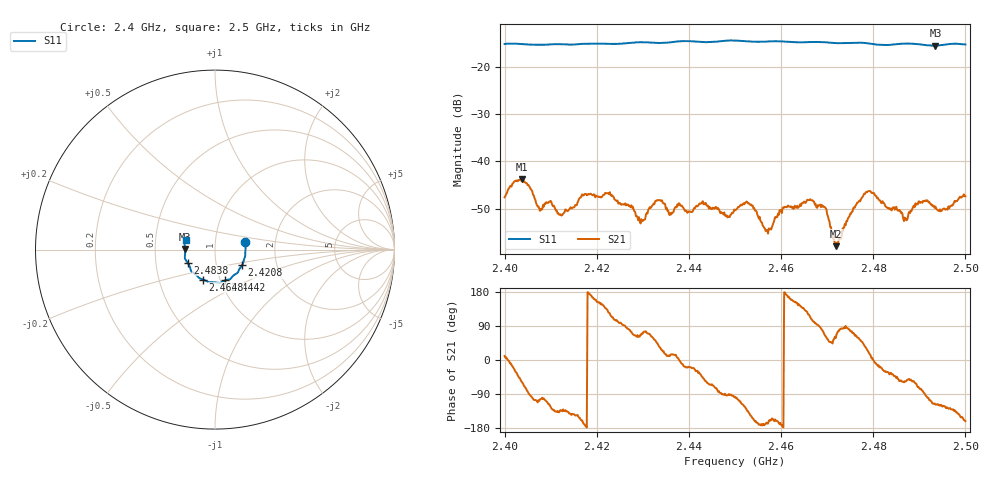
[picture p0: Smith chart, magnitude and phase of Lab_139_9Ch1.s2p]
# Hz S RI R 50
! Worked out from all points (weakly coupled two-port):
!   601 points, 2.4 GHz to 2.5 GHz, reference 50 ohm
!   highest |S21| = -43.77 dB at 2.4037 GHz (marker M1); lowest = -57.9 dB at 2.4718 GHz (marker M2)
!   lowest |S11| = -15.6 dB at 2.4935 GHz (marker M3), VSWR 1.40, Z = 35.8 + j0.19 ohm
!   |S11| at or under -10 dB: start of sweep to end of sweep
!   S12 and S22 are empty: the file has one direction only
!   S11 on the Smith chart (normalised r, x): 2.4 GHz: 1.40, +0.12; 2.4208 GHz: 1.33, -0.24; 2.4442 GHz: 1.05, -0.37; 2.4648 GHz: 0.83, -0.29; 2.4838 GHz: 0.73, -0.11; 2.5 GHz: 0.72, +0.08
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2.4e9  0.1679 0.041  0.00411 0.000773  0 0  0 0
2.403667e9  0.1712 0.02  0.00354 -0.00543  0 0  0 0
2.4075e9  0.1688 -0.0134  -0.001 -0.00304  0 0  0 0
2.412e9  0.1676 -0.0387  -0.00188 -0.00198  0 0  0 0
2.416667e9  0.159 -0.068  -0.00401 -0.00152  0 0  0 0
2.420833e9  0.1508 -0.0872  -0.00363 0.00207  0 0  0 0
2.429833e9  0.125 -0.1298  0.000792 0.0022  0 0  0 0
2.433333e9  0.1079 -0.1402  0.00299 0.00249  0 0  0 0
2.436167e9  0.0938 -0.1539  0.00266 0.000709  0 0  0 0
2.444167e9  0.0568 -0.1714  0.00163 -0.00299  0 0  0 0
2.45e9  0.0245 -0.1864  -0.000374 -0.00302  0 0  0 0
2.453e9  0.00866 -0.1837  -0.00274 -0.00235  0 0  0 0
2.457167e9  -0.021 -0.1824  -0.00169 -0.000368  0 0  0 0
2.464833e9  -0.0683 -0.1667  -0.00268 0.00247  0 0  0 0
2.466667e9  -0.0798 -0.1627  -0.00112 0.00371  0 0  0 0
2.469667e9  -0.092 -0.1547  0.00147 0.00286  0 0  0 0
2.471833e9  -0.1011 -0.1447  0.000684 0.00108  0 0  0 0
2.4785e9  -0.1356 -0.1126  0.00407 0.00244  0 0  0 0
2.483333e9  -0.1505 -0.0762  0.00268 -0.0018  0 0  0 0
2.483833e9  -0.1532 -0.0721  0.00257 -0.00172  0 0  0 0
2.4935e9  -0.166 0.00258  -0.00153 -0.00296  0 0  0 0
2.5e9  -0.1622 0.0527  -0.00405 -0.00138  0 0  0 0
